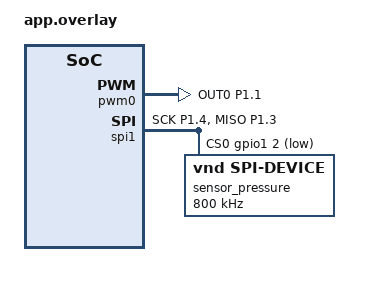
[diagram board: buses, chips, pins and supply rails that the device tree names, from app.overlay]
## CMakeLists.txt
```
cmake_minimum_required(VERSION 3.20.0)
find_package(Zephyr REQUIRED HINTS $ENV{ZEPHYR_BASE})

project(D6F-Read)

target_sources(app PRIVATE
    src/main.c
    src/adc.c
    src/pwm.c
    src/spi.c
    src/pid.c
    src/pid_autotune.c
    src/enclosure_profiles.c
)
```

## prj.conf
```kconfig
CONFIG_ADC=y
CONFIG_LOG=y
CONFIG_LOG_DEFAULT_LEVEL=3
CONFIG_LOG_BACKEND_UART=y
CONFIG_LOG_MODE_IMMEDIATE=y
CONFIG_MAIN_STACK_SIZE=4096
CONFIG_CBPRINTF_FP_SUPPORT=y
CONFIG_PWM=y
CONFIG_SPI=y
CONFIG_GPIO=y
CONFIG_UART_CONSOLE=y
CONFIG_CONSOLE_SUBSYS=y
CONFIG_CONSOLE_GETLINE=y
CONFIG_FLASH=y
CONFIG_FLASH_MAP=y
CONFIG_NVS=y
CONFIG_MPU_ALLOW_FLASH_WRITE=y
CONFIG_LOG_MAX_LEVEL=3
```

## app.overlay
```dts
#include <zephyr/dt-bindings/pinctrl/nrf-pinctrl.h>

&pinctrl {
    pwm0_motor_default: pwm0_motor_default {
        group1 {
            psels = <NRF_PSEL(PWM_OUT0, 1, 1)>;
        };
    };
    pwm0_motor_sleep: pwm0_motor_sleep {
        group1 {
            psels = <NRF_PSEL(PWM_OUT0, 1, 1)>;
        };
    };
    spi1_sensor_default: spi1_sensor_default {
        group1 {
            psels = <NRF_PSEL(SPIM_SCK, 1, 4)>,
                    <NRF_PSEL(SPIM_MISO, 1, 3)>;
        };
    };

    spi1_sensor_sleep: spi1_sensor_sleep {
        group1 {
            psels = <NRF_PSEL(SPIM_SCK, 1, 4)>,
                    <NRF_PSEL(SPIM_MISO, 1, 3)>;

            low-power-enable;
        };
    };
};

&pwm0 {
    pinctrl-0 = <&pwm0_motor_default>;
    pinctrl-1 = <&pwm0_motor_sleep>;
    pinctrl-names = "default", "sleep";
};

&spi1 {
        compatible = "nordic,nrf-spi";
        status = "okay";
        cs-gpios = <&gpio1 2 GPIO_ACTIVE_LOW>;
        pinctrl-0 = <&spi1_sensor_default>;
        pinctrl-1 = <&spi1_sensor_sleep>;
        pinctrl-names = "default", "sleep";
        sensor_pressure: sensor_pressure@0 {
                compatible = "vnd,spi-device";
                reg = <0>;
                spi-max-frequency = <800000>;

                spi-cs-setup-delay-ns = <2500>;
                spi-cs-hold-delay-ns = <100>;
        };
};
```

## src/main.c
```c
#include <zephyr/kernel.h>
#include <zephyr/console/console.h>
#include <zephyr/sys/util.h>
#include <zephyr/logging/log.h>
#include <stdio.h>
#include <math.h>

#include "adc.h"
#include "pwm.h"
#include "spi.h"
#include "pid.h"
#include "pid_autotune.h"
#include "enclosure_profiles.h"


LOG_MODULE_REGISTER(main, LOG_LEVEL_DBG);

static unsigned int select_profile(void)
{
    enclosure_profile profile;

    while (1) {
        printf("\r\nObudowy zapisane w MCU:\r\n");
        for (unsigned int i = 0; i < ENCLOSURE_PROFILE_COUNT; i++) {
            if (enclosure_profile_load(i, &profile) == 0) {
                printf("  %u. %s\r\n", i + 1, profile.name);
            } else {
                printf("  %u. <puste>\r\n", i + 1);
            }
        }
        printf("Wybierz numer obudowy [1-%u]: ", ENCLOSURE_PROFILE_COUNT);
        char *line = console_getline();
        if (line[0] >= '1' && line[0] <= '0' + ENCLOSURE_PROFILE_COUNT &&
            line[1] == '\0') {
            return (unsigned int)(line[0] - '1');
        }
        printf("Nieprawidlowy numer.\r\n");
    }
}

static int select_yes_no(const char *question)
{
    while (1) {
        printf("%s [y/n]: ", question);
        char *line = console_getline();
        if (line[0] == 'y' || line[0] == 'Y') {
            return 1;
        }
        if (line[0] == 'n' || line[0] == 'N') {
            return 0;
        }
        printf("Wpisz y albo n.\r\n");
    }
}

int main(void)
{
    float pressure_pa = 0.0f;
    float duty = 0.0f;
    float l_min = 0.0f;
    float pidTerm = 0.0f;
    float pressure_sum = 0.0f;
    float avg_pressure = 0.0f;
    unsigned int pressure_samples = 0;
    int64_t telemetry_time = 0;
    int64_t pid_time = 0;
    pid_autotune autotune;
    enclosure_profile profile;
    float output_start = 0.0f;
    unsigned int profile_index;
    int calibrating;
    //printf("Hello World!\n");
    
    pidParm enclosure1 = {
        .Kp = 0.5f,
        .Ki = 0.01f,
        .Kd = 1.0f,
        .SetPoint = 50.0f,
    };
    
    int err;
    err = pwm_set_percent(0.0f);
    if (err != PWM_OK) {
        LOG_ERR("PWM failed with code error: %d", err);
        goto stop_motor;
    }

    err = adc_init();
    if (err != 0){
        LOG_ERR("ADC failed with code error: %d", err);
        goto stop_motor;
    };

    err = spi_init();
    if (err != 0){
        LOG_ERR("SPI failed with code error: %d", err);
        goto stop_motor;
    };

    err = enclosure_profiles_init();
    if (err != 0) {
        LOG_ERR("Profile storage failed with code error: %d", err);
        goto stop_motor;
    }
    console_getline_init();

select_profile:
    profile_index = select_profile();
    calibrating = select_yes_no("Uruchomic kalibracje?");
    if (!calibrating) {
        if (enclosure_profile_load(profile_index, &profile) != 0) {
            printf("Brak zapisanego profilu. Wybierz kalibracje.\r\n");
            goto select_profile;
        }
        enclosure1 = profile.pid;
        output_start = profile.output_start;
        duty = output_start;
        err = pwm_set_percent(duty);
        if (err != PWM_OK) {
            LOG_ERR("PWM failed with code error: %d", err);
            goto stop_motor;
        }
        pid_init();
        pid_time = k_uptime_get();
        printf("Wczytano %s: base=%.6f%%, Kp=%.6f, Ki=%.6f, Kd=%.6f\r\n",
               profile.name, (double)output_start, (double)enclosure1.Kp,
               (double)enclosure1.Ki, (double)enclosure1.Kd);
    } else {
        pid_init();
        err = pid_autotune_init(&autotune, enclosure1.SetPoint);
        if (err != AT_OK) {
            goto stop_motor;
        }
        output_start = autotune.output;
        err = pwm_set_percent(output_start);
        if (err != PWM_OK) {
            LOG_ERR("PWM failed with code error: %d", err);
            goto stop_motor;
        }
    }

    


    while (1) {
        err = adc_read_flowrate(&l_min);
        if (err != ADC_OK) {
            LOG_ERR("ADC failed with code error: %d", err);
            goto stop_motor;
        }

        err = spi_read_pressure(&pressure_pa);
        if (err != SPI_OK || !isfinite(pressure_pa)) {
            LOG_ERR("Pressure read failed with code error: %d", err);
            goto stop_motor;
        }
        pressure_sum += pressure_pa;
        pressure_samples++;
        if (calibrating) {
            err = pid_autotune_update(&autotune, pressure_pa, &duty, &enclosure1);
            if (err != AT_OK) {
                goto stop_motor;
            }
            if (autotune.state == AT_DONE) {
                calibrating = 0;
                output_start = autotune.output_start;
                duty = output_start;
                err = pwm_set_percent(duty);
                if (err != PWM_OK) {
                    LOG_ERR("PWM failed with code error: %d", err);
                    goto stop_motor;
                }
                printf("\r\n/* Copy both the PID gains and the operating PWM. */\r\n"
                       "pidParm enclosure1 = {\r\n"
                       "    .Kp = %.6ff,\r\n"
                       "    .Ki = %.6ff,\r\n"
                       "    .Kd = %.6ff,\r\n"
                       "    .SetPoint = %.2ff,\r\n"
                       "};\r\n"
                       "float enclosure1_output_start = %.6ff;\r\n\r\n",
                       (double)enclosure1.Kp, (double)enclosure1.Ki,
                       (double)enclosure1.Kd, (double)enclosure1.SetPoint,
                       (double)output_start);
                if (select_yes_no("Zapisac nastawy do pamieci MCU?")) {
                    printf("Podaj nazwe obudowy: ");
                    char *name = console_getline();
                    err = enclosure_profile_save(profile_index, name, enclosure1,
                                                 output_start);
                    if (err != 0) {
                        LOG_ERR("Profile save failed with code error: %d", err);
                    } else {
                        printf("Zapisano profil %s w pozycji %u.\r\n",
                               name, profile_index + 1);
                    }
                }
                pid_init();
                pid_time = k_uptime_get();
            }
        } else if (k_uptime_get() - pid_time >=
                   (fabsf(enclosure1.SetPoint - pressure_pa) > 10.0f ? 50 : 100)) {
            pid_time = k_uptime_get();
            pid_calc(pressure_pa, &pidTerm, enclosure1);
            duty = output_start + pidTerm;
            duty = duty < 7.9f ? 0.0f : MIN(duty, 50.0f);
        }

        if (k_uptime_get() - telemetry_time >= 100) {
            telemetry_time = k_uptime_get();
            avg_pressure = pressure_sum / (float)pressure_samples;
            pressure_sum = 0.0f;
            pressure_samples = 0;
            printf(">Pressure:%.4f,avgPressure:%.4f,duty:%.4f,pidTerm:%.4f\r\n",
                   (double)pressure_pa, (double)avg_pressure,
                   (double)duty, (double)pidTerm);
        }

        err = pwm_set_percent(duty);
        if (err != PWM_OK) {
            LOG_ERR("PWM failed with code error: %d", err);
            goto stop_motor;
        }

        // printf(">Pressure:%.4f,pidTerm:%.4f,duty:%.4f,l_min:%.4f\r\n",
        //     (double)pressure_pa,
        //     (double)pidTerm,
        //     (double)duty,
        //     (double)l_min);
        k_msleep(10);
    }

stop_motor:
    LOG_ERR("Control stopped; setting turbine PWM to zero. Reset to retry.");
    err = pwm_set_percent(0.0f);
    if (err != PWM_OK) {
        LOG_ERR("Motor stop failed with code error: %d", err);
    }
    return -1;
}
```

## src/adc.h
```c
#ifndef ADC_H_
#define ADC_H_

typedef enum {
    ADC_OK, 
    ADC_CH_SETUP_ERR, 
    ADC_READ_ERR
} adc_status;


int adc_init(void);
int adc_read_flowrate(float *l_min);

#endif
```

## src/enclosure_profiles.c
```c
#include <errno.h>
#include <string.h>

#include <zephyr/device.h>
#include <zephyr/drivers/flash.h>
#include <zephyr/kvss/nvs.h>
#include <zephyr/storage/flash_map.h>

#include "enclosure_profiles.h"

#define PROFILE_MAGIC 0x454c5431u
#define PROFILE_PARTITION storage_partition

typedef struct {
    uint32_t magic;
    char name[ENCLOSURE_PROFILE_NAME_LEN];
    pidParm pid;
    float output_start;
} saved_profile;

static struct nvs_fs profiles_fs;

int enclosure_profiles_init(void)
{
    struct flash_pages_info page;
    int err;

    profiles_fs.flash_device = PARTITION_DEVICE(PROFILE_PARTITION);
    if (!device_is_ready(profiles_fs.flash_device)) {
        return -ENODEV;
    }

    profiles_fs.offset = PARTITION_OFFSET(PROFILE_PARTITION);
    err = flash_get_page_info_by_offs(profiles_fs.flash_device,
                                      profiles_fs.offset, &page);
    if (err != 0) {
        return err;
    }

    profiles_fs.sector_size = page.size;
    profiles_fs.sector_count = 3U;
    return nvs_mount(&profiles_fs);
}

int enclosure_profile_load(unsigned int index, enclosure_profile *profile)
{
    saved_profile saved;
    ssize_t size;

    if (index >= ENCLOSURE_PROFILE_COUNT) {
        return -EINVAL;
    }

    memset(profile, 0, sizeof(*profile));
    size = nvs_read(&profiles_fs, index + 1U, &saved, sizeof(saved));
    if (size != sizeof(saved) || saved.magic != PROFILE_MAGIC) {
        return -ENOENT;
    }

    memcpy(profile->name, saved.name, sizeof(profile->name));
    profile->name[sizeof(profile->name) - 1] = '\0';
    profile->pid = saved.pid;
    profile->output_start = saved.output_start;
    profile->valid = 1;
    return 0;
}

int enclosure_profile_save(unsigned int index, const char *name,
                           pidParm pid, float output_start)
{
    saved_profile saved = {
        .magic = PROFILE_MAGIC,
        .pid = pid,
        .output_start = output_start,
    };
    ssize_t size;

    if (index >= ENCLOSURE_PROFILE_COUNT || name[0] == '\0') {
        return -EINVAL;
    }

    strncpy(saved.name, name, sizeof(saved.name) - 1);
    size = nvs_write(&profiles_fs, index + 1U, &saved, sizeof(saved));
    return size < 0 ? (int)size : 0;
}
```

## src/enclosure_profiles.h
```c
#ifndef ENCLOSURE_PROFILES_H_
#define ENCLOSURE_PROFILES_H_

#include "pid.h"

#define ENCLOSURE_PROFILE_COUNT 5
#define ENCLOSURE_PROFILE_NAME_LEN 24

typedef struct {
    char name[ENCLOSURE_PROFILE_NAME_LEN];
    pidParm pid;
    float output_start;
    int valid;
} enclosure_profile;

int enclosure_profiles_init(void);
int enclosure_profile_load(unsigned int index, enclosure_profile *profile);
int enclosure_profile_save(unsigned int index, const char *name,
                           pidParm pid, float output_start);

#endif
```

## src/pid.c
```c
#include <zephyr/kernel.h>
#include <zephyr/sys/util.h>
#include "pid.h"

static int64_t prev_time;
static float integral = 0.0f;
static float previousError = 0.0f;
static int first_sample = 1;


int pid_init(void)
{
    prev_time = k_uptime_get();
    integral = 0.0f;
    previousError = 0.0f;
    first_sample = 1;

    return 0;
}


int pid_calc(float pressure_pa, float *pidTerm, pidParm pidparm)
{
    float error = pidparm.SetPoint - pressure_pa;

    float pTerm = pidparm.Kp * error;

    float derivative = 0.0f;



    float dt = (float)k_uptime_delta(&prev_time) / 1000.0f;
    if (dt <= 0.0f) {
     dt = 0.001f;
    }

    integral += error * dt;

    //integral = CLAMP(integral, -0.25f, 0.25f);

    float iTerm = pidparm.Ki * integral;

    // The first measurement after reset has no previous error to differentiate.
    if (!first_sample) {
        derivative = (error - previousError) / dt;
    }
    first_sample = 0;
    float dTerm = pidparm.Kd * derivative;

    previousError = error;

    *pidTerm = pTerm + iTerm + dTerm;

    return 0;
}
```

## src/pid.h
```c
#ifndef PID_H_
#define PID_H_

typedef struct {
    float Kp;
    float Ki;
    float Kd;
    float SetPoint;
} pidParm;

extern pidParm enclosure1;

int pid_init(void);
int pid_calc(float pressure_pa, float *pidTerm, pidParm pidparm);

#endif
```

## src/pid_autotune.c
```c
#include <zephyr/kernel.h>
#include <zephyr/sys/util.h>
#include <zephyr/logging/log.h>
#include <float.h>
#include <math.h>

#include "pid_autotune.h"

LOG_MODULE_REGISTER(pid_autotune, LOG_LEVEL_DBG);

static const float output_min = 7.9f;
static const float output_max = 50.0f;
static const float base_band = 2.0f;

static int autotune_fail(pid_autotune *tune, float *duty, int error)
{
    LOG_ERR("Autotune stopped: state=%d, PWM=%.3f%%, elapsed=%lld ms, error=%d",
            tune->state, (double)tune->output,
            (long long)(k_uptime_get() - tune->start_time), error);
    tune->state = AT_FAILED;
    tune->error = error;
    tune->output = 0.0f;
    *duty = 0.0f;
    return error;
}

int pid_autotune_init(pid_autotune *tune, float setpoint)
{
    int64_t now = k_uptime_get();

    *tune = (pid_autotune) {
        .state = AT_FIND_BASE,
        .setpoint = setpoint,
        .output_step = 1.5f,
        .noise_band = 1.0f,
        .output = output_min,
        .start_time = now,
        .state_time = now,
        .window_time = now,
        .cycle_time = -1,
        .control_time = now,
        .previous_pressure = NAN,
        .window_output_min = output_min,
        .window_output_max = output_min,
        .window_min = FLT_MAX,
        .window_max = -FLT_MAX,
    };

    if (!isfinite(setpoint) || setpoint <= 0.0f) {
        return autotune_fail(tune, &tune->output, AT_INPUT_ERR);
    }

    LOG_INF("Autotune start: setpoint=%.2f Pa, PWM range=%.1f..%.1f%%",
            (double)setpoint, (double)output_min, (double)output_max);
    return AT_OK;
}

static int oscillations_regular(pid_autotune *tune, unsigned int count,
                                float amplitude, float period)
{
    for (unsigned int i = 0; i < count; i++) {
        if (fabsf(tune->amplitudes[i] - amplitude) > 0.25f * amplitude ||
            fabsf(tune->periods[i] - period) > 0.35f * period) {
            return 0;
        }
    }
    return 1;
}

static int autotune_finish(pid_autotune *tune, float *duty, pidParm *pidparm,
                           unsigned int count)
{
    float amplitude = 0.0f;
    float period = 0.0f;

    for (unsigned int i = 0; i < count; i++) {
        amplitude += tune->amplitudes[i];
        period += tune->periods[i];
    }
    amplitude /= (float)count;
    period /= (float)count;

    if (amplitude <= 0.1f) {
        return autotune_fail(tune, duty, AT_AMPLITUDE_ERR);
    }

    if (!oscillations_regular(tune, count, amplitude, period)) {
        return autotune_fail(tune, duty, AT_OSCILLATION_ERR);
    }

    // output_step is the relay amplitude in PWM percentage points.
    float Ku = 4.0f * tune->output_step / (3.14159265f * amplitude);
    float Kp = Ku / 2.2f;
    float Ti = 2.2f * period;
    float Td = period / 6.3f;
    float Ki = Kp / Ti;
    float Kd = Kp * Td;

    if (!isfinite(Kp) || !isfinite(Ki) || !isfinite(Kd) ||
        Kp <= 0.0f || Ki <= 0.0f || Kd <= 0.0f) {
        return autotune_fail(tune, duty, AT_OSCILLATION_ERR);
    }

    pidparm->Kp = Kp;
    pidparm->Ki = Ki;
    pidparm->Kd = Kd;
    pidparm->SetPoint = tune->setpoint;
    tune->amplitude = amplitude;
    tune->Ku = Ku;
    tune->Pu = period;
    tune->state = AT_DONE;
    tune->output = tune->output_start;
    *duty = tune->output;

    LOG_INF("Autotune done: a=%.3f Pa, Ku=%.3f, Pu=%.3f s",
            (double)amplitude, (double)Ku, (double)period);
    LOG_INF("PID: Kp=%.4f, Ki=%.4f, Kd=%.4f",
            (double)Kp, (double)Ki, (double)Kd);
    return AT_OK;
}

int pid_autotune_update(pid_autotune *tune, float pressure_pa,
                        float *duty, pidParm *pidparm)
{
    int64_t now = k_uptime_get();

    if (tune->state == AT_FAILED) {
        *duty = 0.0f;
        return tune->error;
    }
    if (tune->state == AT_DONE) {
        *duty = tune->output_start;
        return AT_OK;
    }
    if (!isfinite(pressure_pa)) {
        return autotune_fail(tune, duty, AT_INPUT_ERR);
    }
    if (now - tune->start_time >= 300000) {
        return autotune_fail(tune, duty, AT_TIMEOUT_ERR);
    }

    if (tune->state == AT_FIND_BASE) {
        if (!isfinite(tune->previous_pressure)) {
            tune->previous_pressure = pressure_pa;
        }
        tune->window_min = MIN(tune->window_min, pressure_pa);
        tune->window_max = MAX(tune->window_max, pressure_pa);
        tune->pressure_sum += pressure_pa;
        tune->output_sum += tune->output;
        tune->window_output_min = MIN(tune->window_output_min, tune->output);
        tune->window_output_max = MAX(tune->window_output_max, tune->output);
        tune->window_samples++;

        if (now - tune->start_time >= 60000) {
            LOG_ERR("Cannot establish base pressure within 60 s");
            return autotune_fail(tune, duty, AT_BASE_ERR);
        }

        if (now - tune->control_time >= 100) {
            float dt = (float)(now - tune->control_time) / 1000.0f;
            // Incremental PI for base acquisition: react to rising pressure before overshoot.
            // Limit the integral ramp only; clipping the proportional change biases noisy data.
            float ramp = CLAMP(0.04f * (tune->setpoint - pressure_pa),
                               -4.0f, 0.8f) * dt;
            float damping = CLAMP(-0.10f * (pressure_pa - tune->previous_pressure),
                                  -0.5f, 0.5f);
            float change = ramp + damping;
            float output = CLAMP(tune->output + change,
                                 output_min, output_max);
            if (output > output_min && output < output_max) {
                tune->state_time = now;
            }
            tune->output = output;
            tune->previous_pressure = pressure_pa;
            tune->control_time = now;
        }

        if (now - tune->window_time >= 500) {
            float mean_pressure = tune->pressure_sum / (float)tune->window_samples;
            float mean_output = tune->output_sum / (float)tune->window_samples;
            int settled = tune->window_samples >= 20 &&
                fabsf(mean_pressure - tune->setpoint) <= base_band &&
                tune->window_max - tune->window_min <= 6.0f &&
                tune->window_output_max - tune->window_output_min <= 1.0f;
            if (settled) {
                if (fabsf(mean_output - tune->output_start) > 0.25f) {
                    tune->stable_windows = 0;
                    tune->base_noise = 0.0f;
                }
                tune->stable_windows++;
                tune->output_start = mean_output;
                tune->base_noise = MAX(tune->base_noise,
                    (tune->window_max - tune->window_min) / 2.0f);
            } else {
                tune->stable_windows = 0;
                tune->base_noise = 0.0f;
            }
            LOG_INF("Find base: PWM=%.3f%%, P=%.2f Pa, range=%.2f..%.2f Pa, samples=%u, settled=%d",
                    (double)tune->output, (double)pressure_pa,
                    (double)tune->window_min, (double)tune->window_max,
                    tune->window_samples, settled);

            if (now - tune->state_time >= 3000 &&
                tune->window_max - tune->window_min <= 2.0f * tune->noise_band) {
                if (tune->output >= output_max && mean_pressure < tune->setpoint - base_band) {
                    LOG_ERR("Cannot reach setpoint at maximum PWM");
                    return autotune_fail(tune, duty, AT_BASE_ERR);
                }
                if (tune->output <= output_min && mean_pressure > tune->setpoint + base_band) {
                    LOG_ERR("Pressure exceeds setpoint at minimum running PWM");
                    return autotune_fail(tune, duty, AT_BASE_ERR);
                }
            }
            if (tune->stable_windows >= 2) {
                // Relay thresholds must exceed measured fluctuations at the base.
                tune->noise_band = MAX(1.0f, tune->base_noise + 0.2f);
                // Keep HIGH/LOW symmetric so the Ku formula remains valid.
                tune->output_step = MIN(tune->output_step,
                    MIN(tune->output_start - output_min,
                        output_max - tune->output_start));
                if (tune->output_step < 0.1f) {
                    return autotune_fail(tune, duty, AT_BASE_ERR);
                }
                tune->state = AT_RELAY_HIGH;
                tune->output = tune->output_start + tune->output_step;
                tune->pressure_min = pressure_pa;
                tune->pressure_max = pressure_pa;
                LOG_INF("Autotune base: %.3f%%, step: %.3f%%, noise band: %.2f Pa",
                        (double)tune->output_start, (double)tune->output_step,
                        (double)tune->noise_band);
                tune->state_time = now;
            }

            tune->window_time = now;
            tune->window_min = FLT_MAX;
            tune->window_max = -FLT_MAX;
            tune->window_samples = 0;
            tune->pressure_sum = 0.0f;
            tune->output_sum = 0.0f;
            tune->window_output_min = tune->output;
            tune->window_output_max = tune->output;
        }
    } else {
        if (now - tune->state_time >= 3500) {
            float max_step = MIN(tune->output_start - output_min,
                                 output_max - tune->output_start);
            float next_step = MIN(tune->output_step + 0.5f, max_step);
            if (next_step <= tune->output_step + 0.01f) {
                LOG_ERR("Relay cannot cross pressure threshold within PWM range");
                return autotune_fail(tune, duty, AT_BASE_ERR);
            }
            tune->output_step = next_step;
            tune->output = tune->state == AT_RELAY_HIGH ?
                tune->output_start + tune->output_step :
                tune->output_start - tune->output_step;
            tune->cycles = 0;
            tune->cycle_time = -1;
            tune->pressure_min = pressure_pa;
            tune->pressure_max = pressure_pa;
            tune->samples = 0;
            tune->state_time = now;
            LOG_INF("Relay step increased to %.3f%%", (double)tune->output_step);
        }

        // Include every sample, including overshoot after a relay switch.
        tune->pressure_min = MIN(tune->pressure_min, pressure_pa);
        tune->pressure_max = MAX(tune->pressure_max, pressure_pa);
        tune->samples++;

        if (tune->state == AT_RELAY_HIGH &&
            pressure_pa > tune->setpoint + tune->noise_band) {
            tune->state = AT_RELAY_LOW;
            tune->state_time = now;
            tune->output = tune->output_start - tune->output_step;
        } else if (tune->state == AT_RELAY_LOW &&
                   pressure_pa < tune->setpoint - tune->noise_band) {
            // A full cycle runs from LOW->HIGH to the next LOW->HIGH.
            if (tune->cycle_time >= 0) {
                float amplitude = (tune->pressure_max - tune->pressure_min) / 2.0f;
                float period = (float)(now - tune->cycle_time) / 1000.0f;
                tune->cycles++;

                if (tune->cycles > 2) {
                    if (amplitude <= 0.1f) {
                        return autotune_fail(tune, duty, AT_AMPLITUDE_ERR);
                    }
                    if (period < 0.2f || tune->samples < 20) {
                        return autotune_fail(tune, duty, AT_OSCILLATION_ERR);
                    }
                    unsigned int i = tune->cycles - 3;
                    tune->amplitudes[i] = amplitude;
                    tune->periods[i] = period;
                    LOG_INF("Autotune cycle %u: a=%.3f Pa, Pu=%.3f s",
                            i + 1, (double)amplitude, (double)period);

                    unsigned int measured_cycles = tune->cycles - 2;
                    if (measured_cycles >= 2) {
                        float mean_amplitude = 0.0f;
                        float mean_period = 0.0f;
                        for (unsigned int j = 0; j < measured_cycles; j++) {
                            mean_amplitude += tune->amplitudes[j];
                            mean_period += tune->periods[j];
                        }
                        mean_amplitude /= (float)measured_cycles;
                        mean_period /= (float)measured_cycles;
                        if (measured_cycles == 3 ||
                            oscillations_regular(tune, measured_cycles,
                                                 mean_amplitude, mean_period)) {
                            return autotune_finish(tune, duty, pidparm,
                                                   measured_cycles);
                        }
                    }
                }
            }

            tune->cycle_time = now;
            tune->pressure_min = pressure_pa;
            tune->pressure_max = pressure_pa;
            tune->samples = 0;
            tune->state = AT_RELAY_HIGH;
            tune->state_time = now;
            tune->output = tune->output_start + tune->output_step;
        }
    }

    tune->output = CLAMP(tune->output, output_min, output_max);
    *duty = tune->output;
    return AT_OK;
}
```

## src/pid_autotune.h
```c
#ifndef PID_AUTOTUNE_H_
#define PID_AUTOTUNE_H_

#include <stdint.h>

#include "pid.h"

typedef enum {
    AT_FIND_BASE,
    AT_RELAY_HIGH,
    AT_RELAY_LOW,
    AT_DONE,
    AT_FAILED,
} pid_autotune_state;

typedef enum {
    AT_OK,
    AT_TIMEOUT_ERR,
    AT_BASE_ERR,
    AT_AMPLITUDE_ERR,
    AT_OSCILLATION_ERR,
    AT_INPUT_ERR,
} pid_autotune_status;

typedef struct {
    pid_autotune_state state;
    int error;
    float setpoint;
    float output_start;
    float output_step;
    float noise_band;
    float base_noise;
    float output;
    float amplitude;
    float Ku;
    float Pu;

    int64_t start_time;
    int64_t state_time;
    int64_t window_time;
    int64_t cycle_time;
    int64_t control_time;
    float previous_pressure;
    float pressure_sum;
    float output_sum;
    float window_output_min;
    float window_output_max;
    unsigned int stable_windows;
    float window_min;
    float window_max;
    float pressure_min;
    float pressure_max;
    float amplitudes[3];
    float periods[3];
    unsigned int cycles;
    unsigned int samples;
    unsigned int window_samples;
} pid_autotune;

int pid_autotune_init(pid_autotune *tune, float setpoint);
int pid_autotune_update(pid_autotune *tune, float pressure_pa,
                        float *duty, pidParm *pidparm);

#endif
```

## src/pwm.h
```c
#ifndef PWM_H_
#define PWM_H_

typedef enum {
    PWM_OK, 
    PWM_SET_ERR,
} pwm_status;

int pwm_set_percent(float duty);

#endif
```

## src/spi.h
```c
#ifndef SPI_H_
#define SPI_H_

typedef enum {
    SPI_OK, 
    SPI_INTERFACE_ERR, 
    SPI_READ_ERR, 
    SENSOR_STATUS_ERR,
} spi_status;

int spi_init(void);
int spi_read_pressure(float *pressure_pa);


#endif
```
